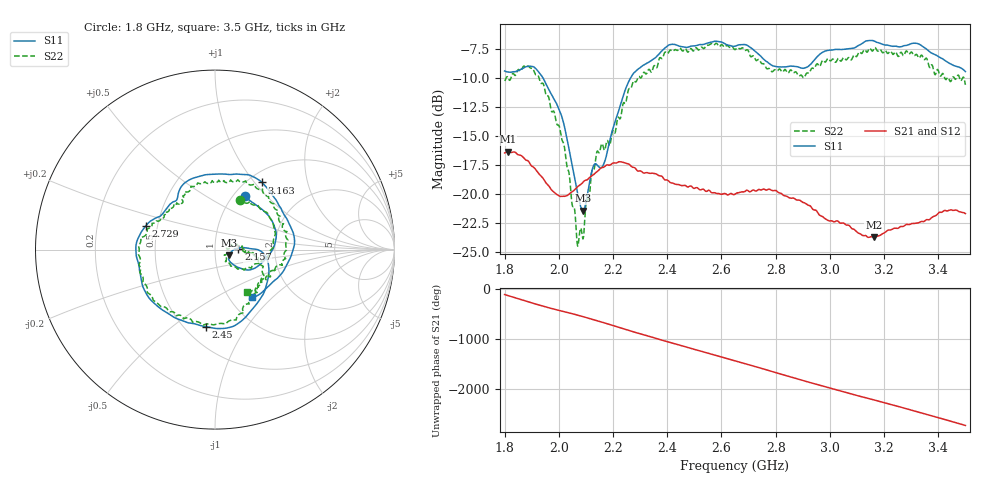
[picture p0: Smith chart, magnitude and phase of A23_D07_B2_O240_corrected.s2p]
! Created with skrf 1.9.0 (http://scikit-rf.org).
# Hz S RI R 50.0
!freq ReS11 ImS11 ReS21 ImS21 ReS12 ImS12 ReS22 ImS22
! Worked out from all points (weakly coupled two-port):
!   1601 points, 1.8 GHz to 3.5 GHz, reference 50 ohm
!   highest |S21| = -16.34 dB at 1.812 GHz (marker M1); lowest = -23.7 dB at 3.162 GHz (marker M2)
!   lowest |S11| = -21.4 dB at 2.089 GHz (marker M3), VSWR 1.19, Z = 58.4 - j3.75 ohm
!   |S11| at or under -10 dB: 1.942 GHz to 2.264 GHz (322.6 MHz wide, 15.3 % of centre)
!   |S22| runs from -24.5 to -7.0 dB; largest |S21 - S12| = 0.0029
!   S11 on the Smith chart (normalised r, x): 1.8 GHz: 1.13, +0.75; 2.157 GHz: 1.30, +0.01; 2.45 GHz: 0.63, -0.66; 2.729 GHz: 0.43, +0.14; 3.163 GHz: 1.16, +1.09; 3.5 GHz: 1.27, -0.76
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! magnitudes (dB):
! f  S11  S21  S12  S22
! 1.8 GHz  -9.4  -16.4  -16.4  -10.2
! 1.812 GHz  -9.5  -16.3  -16.3  -9.9
! 1.887 GHz  -9.0  -17.1  -17.2  -9.0
! 1.942 GHz  -10.0  -18.7  -18.7  -10.5
! 2.013 GHz  -13.4  -20.2  -20.2  -15.4
! 2.068 GHz  -19.7  -19.4  -19.4  -24.2
! 2.084 GHz  -21.3  -19.1  -19.1  -23.1
! 2.089 GHz  -21.4  -19.0  -19.0  -23.9
! 2.127 GHz  -17.6  -18.3  -18.3  -17.9
! 2.157 GHz  -17.7  -17.7  -17.7  -15.7
! 2.19 GHz  -15.2  -17.5  -17.5  -15.7
! 2.261 GHz  -10.1  -17.5  -17.5  -10.9
! 2.367 GHz  -8.0  -18.4  -18.3  -8.6
! 2.45 GHz  -7.3  -19.2  -19.2  -7.5
! 2.65 GHz  -7.3  -20.0  -20.0  -7.6
! 2.729 GHz  -7.8  -19.7  -19.8  -8.5
! 2.934 GHz  -8.7  -21.2  -21.2  -9.1
! 3.162 GHz  -6.8  -23.7  -23.7  -7.5
! 3.163 GHz  -6.8  -23.7  -23.7  -7.4
! 3.217 GHz  -7.2  -23.1  -23.1  -7.8
! 3.325 GHz  -7.0  -22.5  -22.4  -8.1
! 3.5 GHz  -9.4  -21.7  -21.7  -10.6
